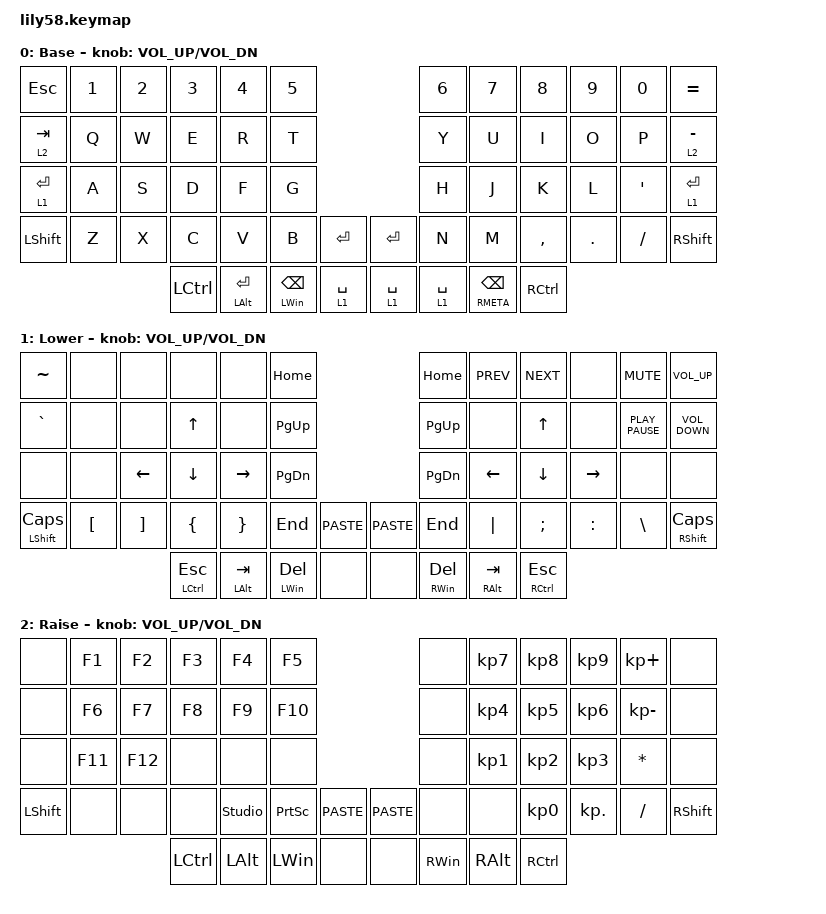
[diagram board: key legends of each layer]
/*
 * Copyright (c) 2020 The ZMK Contributors
 *
 * SPDX-License-Identifier: MIT
 */

#include <behaviors.dtsi>
#include <dt-bindings/zmk/keys.h>

/ {
    keymap {
        compatible = "zmk,keymap";

        default_layer {
            // ------------------------------------------------------------------------------------------------------------
            // |  ESC  |  1  |  2  |  3   |  4   |  5   |                   |  6   |  7    |  8    |  9   |   0   |   `   |
            // |  TAB  |  Q  |  W  |  E   |  R   |  T   |                   |  Y   |  U    |  I    |  O   |   P   |   -   |
            // |  CTRL |  A  |  S  |  D   |  F   |  G   |                   |  H   |  J    |  K    |  L   |   ;   |   '   |
            // | SHIFT |  Z  |  X  |  C   |  V   |  B   |   "["  |  |  "]"  |  N   |  M    |  ,    |  .   |   /   | SHIFT |
            //                     | ALT  | GUI  | LOWER|  SPACE |  | ENTER | RAISE| BSPC  | GUI   |

            display-name = "Base";
            bindings = <
&kp ESC         &kp N1  &kp N2  &kp N3            &kp N4              &kp N5                                              &kp N6       &kp N7               &kp N8             &kp N9   &kp N0            &kp EQUAL
&lt 2 TAB       &kp Q   &kp W   &kp E             &kp R               &kp T                                               &kp Y        &kp U                &kp I              &kp O    &kp P             &lt 2 MINUS
&lt 1 ENTER     &kp A   &kp S   &kp D             &kp F               &kp G                                               &kp H        &kp J                &kp K              &kp L    &kp SINGLE_QUOTE  &lt 1 ENTER
&kp LEFT_SHIFT  &kp Z   &kp X   &kp C             &kp V               &kp B                   &kp ENTER      &kp ENTER    &kp N        &kp M                &kp COMMA          &kp DOT  &kp FSLH          &kp RSHFT
                                &kp LEFT_CONTROL  &mt LEFT_ALT ENTER  &mt LEFT_WIN BACKSPACE  &lt 1 SPACE    &lt 1 SPACE  &lt 1 SPACE  &mt RMETA BACKSPACE  &kp RIGHT_CONTROL
            >;

            sensor-bindings = <&inc_dec_kp C_VOL_UP C_VOL_DN>;
        };

        lower_layer {
            // ------------------------------------------------------------------------------------------------------------
            // | BTCLR | BT1 | BT2 |  BT3 |  BT4 |  BT5 |                   |      |       |       |      |       |       |
            // |  F1   |  F2 |  F3 |  F4  |  F5  |  F6  |                   |  F7  |  F8   |  F9   |  F10 |  F11  |  F12  |
            // |   `   |  !  |  @  |  #   |  $   |  %   |                   |  ^   |  &    |  *    |  (   |   )   |   ~   |
            // |       |     |     |      |      |      |        |  |       |      |  _    |  +    |  {   |   }   |  "|"  |
            //                     |      |      |      |        |  |       |      |       |       |

            display-name = "Lower";
            bindings = <
&kp TILDE            &none             &none              &none                    &none             &kp HOME                                      &kp HOME           &kp K_PREV         &kp K_NEXT                &none            &kp K_MUTE        &kp K_VOLUME_UP
&kp GRAVE            &none             &none              &kp UP_ARROW             &none             &kp PG_UP                                     &kp PAGE_UP        &none              &kp UP_ARROW              &none            &kp K_PLAY_PAUSE  &kp K_VOLUME_DOWN
&none                &none             &kp LEFT_ARROW     &kp DOWN_ARROW           &kp RIGHT_ARROW   &kp PAGE_DOWN                                 &kp PAGE_DOWN      &kp LEFT_ARROW     &kp DOWN_ARROW            &kp RIGHT_ARROW  &none             &none
&mt LEFT_SHIFT CAPS  &kp LEFT_BRACKET  &kp RIGHT_BRACKET  &kp LEFT_BRACE           &kp RIGHT_BRACE   &kp END           &kp K_PASTE    &kp K_PASTE  &kp END            &kp PIPE           &kp SEMICOLON             &kp COLON        &kp BACKSLASH     &mt RIGHT_SHIFT CAPS
                                                          &mt LEFT_CONTROL ESCAPE  &mt LEFT_ALT TAB  &mt LEFT_WIN DEL  &none          &none        &mt RIGHT_WIN DEL  &mt RIGHT_ALT TAB  &mt RIGHT_CONTROL ESCAPE
            >;

            sensor-bindings = <&inc_dec_kp C_VOL_UP C_VOL_DN>;
        };

        raise_layer {
            // ------------------------------------------------------------------------------------------------------------
            // |       |     |     |      |      |      |                   |      |       |       |      |       |       |
            // |   `   |  1  |  2  |  3   |  4   |  5   |                   |  6   |   7   |   8   |  9   |   0   |       |
            // |   F1  |  F2 |  F3 |  F4  |  F5  |  F6  |                   |      |   <-  |   v   |  ^   |  ->   |       |
            // |   F7  |  F8 |  F9 |  F10 |  F11 |  F12 |        |  |       |  +   |   -   |   =   |  [   |   ]   |   \   |
            //                     |      |      |      |        |  |       |      |       |       |

            display-name = "Raise";
            bindings = <
&none           &kp F1   &kp F2   &kp F3            &kp F4          &kp F5                                       &none          &kp KP_NUMBER_7  &kp KP_NUMBER_8    &kp KP_NUMBER_9  &kp KP_PLUS   &none
&none           &kp F6   &kp F7   &kp F8            &kp F9          &kp F10                                      &none          &kp KP_NUMBER_4  &kp KP_NUMBER_5    &kp KP_NUMBER_6  &kp KP_MINUS  &none
&none           &kp F11  &kp F12  &none             &none           &none                                        &none          &kp KP_NUMBER_1  &kp KP_NUMBER_2    &kp KP_NUMBER_3  &kp ASTERISK  &none
&kp LEFT_SHIFT  &none    &none    &none             &studio_unlock  &kp PRINTSCREEN  &kp K_PASTE    &kp K_PASTE  &none          &none            &kp KP_NUMBER_0    &kp KP_DOT       &kp SLASH     &kp RIGHT_SHIFT
                                  &kp LEFT_CONTROL  &kp LEFT_ALT    &kp LEFT_WIN     &none          &none        &kp RIGHT_WIN  &kp RIGHT_ALT    &kp RIGHT_CONTROL
            >;

            sensor-bindings = <&inc_dec_kp C_VOL_UP C_VOL_DN>;
        };

        extra_1 { status = "reserved"; };

        extra_2 { status = "reserved"; };

        extra_3 { status = "reserved"; };
    };
};
